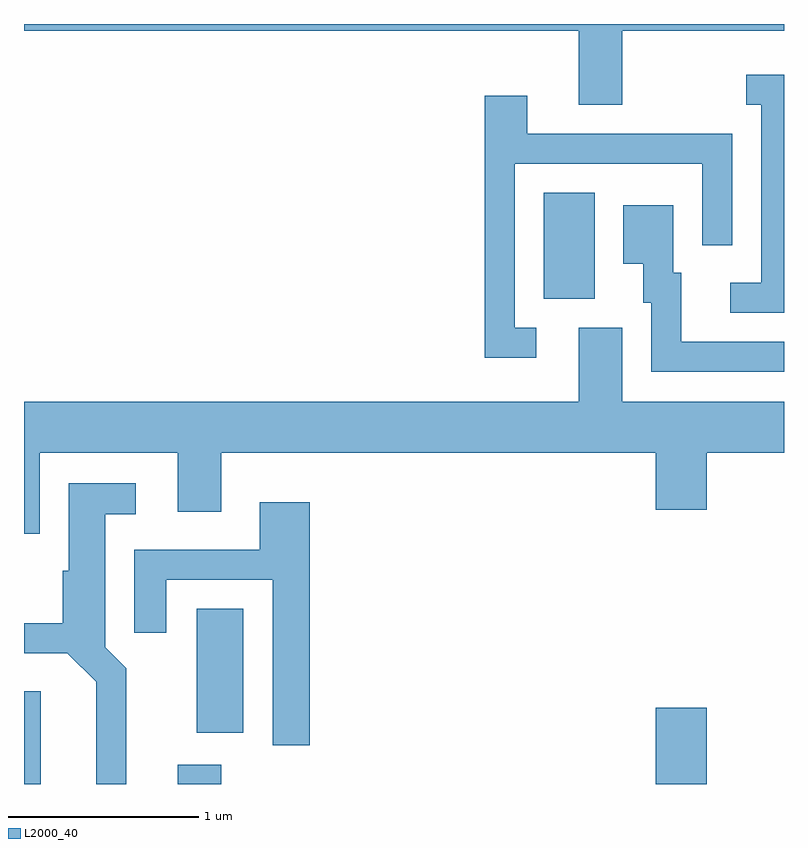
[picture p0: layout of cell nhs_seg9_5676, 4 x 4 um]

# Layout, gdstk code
import gdstk
lib = gdstk.Library(unit=1e-6, precision=1e-09)
def R(c, l, rs):  # rectangles x0, y0, x1, y1
    for r in rs: c.add(gdstk.rectangle(r[:2], r[2:], *l))
def P(c, l, *ps):  # polygons
    for p in ps: c.add(gdstk.Polygon(p, *l))
L2000_40 = (2000, 40)

nhs_seg9_5676 = lib.new_cell('nhs_seg9_5676')
R(nhs_seg9_5676, L2000_40, [(351.611,2074.432,351.699,2074.919), (352.421,2074.432,352.649,2074.534), (354.936,2074.432,355.204,2074.834), (352.521,2074.701,352.764,2075.354), (354.346,2076.986,354.614,2077.544)])
P(nhs_seg9_5676, L2000_40, [(354.759,2078.396),(355.611,2078.396),(355.611,2078.432),(351.611,2078.432),(351.611,2078.396),(354.531,2078.396),(354.531,2078.006),(354.759,2078.006)],
  [(355.611,2078.164),(355.413,2078.164),(355.413,2078.006),(355.491,2078.006),(355.491,2077.069),(355.328,2077.069),(355.328,2076.911),(355.611,2076.911)],
  [(354.308,2076.834),(354.194,2076.834),(354.194,2077.696),(355.181,2077.696),(355.181,2077.268),(355.339,2077.268),(355.339,2077.854),(354.259,2077.854),(354.259,2078.054),(354.036,2078.054),(354.036,2076.676),(354.308,2076.676)],
  [(355.611,2076.759),(355.069,2076.759),(355.069,2077.124),(355.029,2077.124),(355.029,2077.479),(354.766,2077.479),(354.766,2077.171),(354.871,2077.171),(354.871,2076.966),(354.911,2076.966),(354.911,2076.601),(355.611,2076.601)],
  [(351.611,2075.748),(351.694,2075.748),(351.694,2076.176),(352.421,2076.176),(352.421,2075.866),(352.649,2075.866),(352.649,2076.176),(354.936,2076.176),(354.936,2075.876),(355.204,2075.876),(355.204,2076.176),(355.611,2076.176),(355.611,2076.444),(354.759,2076.444),(354.759,2076.834),(354.531,2076.834),(354.531,2076.444),(351.611,2076.444)],
  [(352.149,2075.042),(352.039,2075.152),(352.039,2075.851),(352.198,2075.851),(352.198,2076.014),(351.846,2076.014),(351.846,2075.554),(351.816,2075.554),(351.816,2075.279),(351.611,2075.279),(351.611,2075.121),(351.839,2075.121),(351.991,2074.969),(351.991,2074.432),(352.149,2074.432)],
  [(353.114,2075.914),(352.851,2075.914),(352.851,2075.664),(352.191,2075.664),(352.191,2075.228),(352.359,2075.228),(352.359,2075.506),(352.921,2075.506),(352.921,2074.636),(353.114,2074.636)])

lib.write_gds('nhs_seg9_5676.gds')
